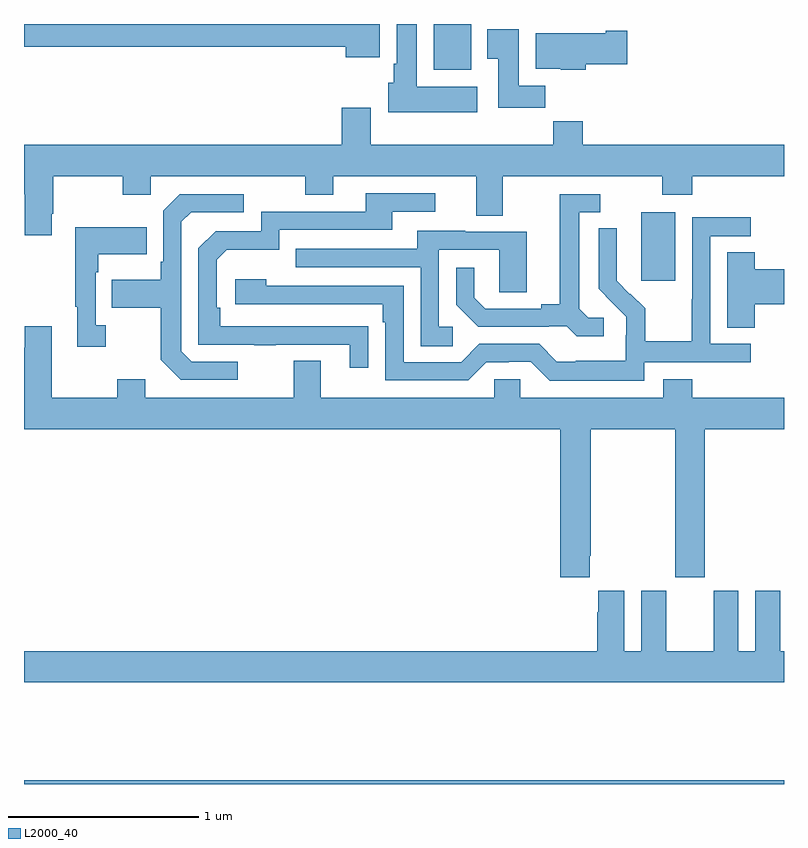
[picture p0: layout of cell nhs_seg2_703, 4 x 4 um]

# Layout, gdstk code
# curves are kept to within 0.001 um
import gdstk
lib = gdstk.Library(unit=1e-6, precision=1e-09)
def R(c, l, rs):  # rectangles x0, y0, x1, y1
    for r in rs: c.add(gdstk.rectangle(r[:2], r[2:], *l))
def P(c, l, *ps):  # polygons
    for p in ps: c.add(gdstk.Polygon(p, *l))
L2000_40 = (2000, 40)

nhs_seg2_703 = lib.new_cell('nhs_seg2_703')
R(nhs_seg2_703, L2000_40, [(147,613.8,151,613.82), (150.248,616.449,150.427,616.81), (149.156,617.558,149.353,617.8)])
P(nhs_seg2_703, L2000_40, [(149.386,617.47),(149.068,617.47),(149.068,617.8),(148.961,617.8),(148.961,617.59),(148.946,617.59),(148.946,617.49),(148.916,617.49),(148.916,617.336),(149.386,617.336)],
  [(148.873,617.8),(147,617.8),(147,617.68),(148.694,617.68),(148.694,617.624),(148.873,617.624)],
  [(149.744,617.476),(149.605,617.476),(149.605,617.773),(149.438,617.773),(149.438,617.617),(149.495,617.617),(149.495,617.358),(149.744,617.358)],
  [(149.957,617.587),(150.175,617.587),(150.175,617.765),(150.062,617.765),(150.062,617.752),(149.693,617.752),(149.693,617.564),(149.826,617.564),(149.826,617.558),(149.957,617.558)],
  [(147,616.904),(147.005,616.904),(147.005,616.689),(147.145,616.689),(147.145,616.801),(147.153,616.801),(147.153,617),(147.52,617),(147.52,616.901),(147.666,616.901),(147.666,617),(148.48,617),(148.48,616.901),(148.627,616.901),(148.627,617),(149.381,617),(149.381,616.792),(149.521,616.792),(149.521,617),(150.358,617),(150.358,616.901),(150.518,616.901),(150.518,617),(151,617),(151,617.164),(149.942,617.164),(149.942,617.288),(149.785,617.288),(149.785,617.164),(148.825,617.164),(148.825,617.359),(148.673,617.359),(148.673,617.164),(147,617.164)],
  [(148.811,616.208),(148.034,616.209),(148.034,616.306),(148.014,616.306),(148.014,616.56),(148.067,616.613),(148.344,616.613),(148.344,616.716),(148.939,616.716),(148.939,616.812),(149.164,616.812),(149.164,616.908),(148.799,616.908),(148.799,616.812),(148.248,616.812),(148.248,616.71),(148.008,616.71),(147.918,616.62),(147.918,616.113),(148.213,616.113),(148.213,616.108),(148.325,616.108),(148.325,616.113),(148.715,616.113),(148.715,615.99),(148.811,615.99)],
  [(148.126,616.023),(147.882,616.023),(147.828,616.077),(147.828,616.758),(147.879,616.809),(148.156,616.809),(148.156,616.905),(147.819,616.905),(147.732,616.818),(147.732,616.549),(147.72,616.549),(147.72,616.453),(147.463,616.453),(147.463,616.306),(147.72,616.306),(147.72,616.033),(147.825,615.927),(148.126,615.927)],
  [(150.052,616.254),(149.97,616.254),(149.923,616.301),(149.923,616.809),(150.034,616.809),(150.034,616.905),(149.819,616.905),(149.819,616.325),(149.723,616.325),(149.723,616.302),(149.428,616.302),(149.371,616.359),(149.371,616.516),(149.274,616.516),(149.274,616.322),(149.39,616.206),(149.762,616.206),(149.762,616.209),(149.856,616.209),(149.908,616.157),(150.052,616.157)],
  [(150.264,616.02),(150.826,616.02),(150.826,616.116),(150.612,616.116),(150.612,616.683),(150.826,616.683),(150.826,616.782),(150.516,616.782),(150.516,616.352),(150.514,616.352),(150.514,616.129),(150.269,616.129),(150.269,616.303),(150.192,616.38),(150.189,616.377),(150.119,616.448),(150.12,616.724),(150.024,616.724),(150.024,616.406),(150.17,616.258),(150.17,616.161),(150.168,616.161),(150.168,616.027),(149.905,616.027),(149.905,616.023),(149.805,616.023),(149.712,616.116),(149.397,616.116),(149.301,616.02),(148.998,616.02),(148.998,616.422),(148.274,616.422),(148.274,616.456),(148.113,616.456),(148.113,616.326),(148.889,616.326),(148.889,616.229),(148.902,616.229),(148.902,615.924),(149.337,615.924),(149.433,616.02),(149.552,616.02),(149.552,616.023),(149.667,616.023),(149.767,615.923),(150.264,615.923)],
  [(147.43,616.214),(147.378,616.214),(147.378,616.493),(147.391,616.493),(147.391,616.589),(147.647,616.589),(147.647,616.729),(147.27,616.729),(147.27,616.313),(147.281,616.313),(147.281,616.101),(147.43,616.101)],
  [(149.257,616.206),(149.184,616.206),(149.184,616.611),(149.502,616.611),(149.502,616.387),(149.647,616.387),(149.647,616.707),(149.323,616.707),(149.323,616.711),(149.069,616.711),(149.069,616.617),(148.429,616.617),(148.429,616.521),(149.088,616.521),(149.088,616.105),(149.257,616.105)],
  [(150.845,616.325),(151,616.325),(151,616.508),(150.845,616.508),(150.845,616.598),(150.701,616.598),(150.701,616.201),(150.845,616.201)],
  [(149.977,615.001),(149.982,615.001),(149.982,615.668),(150.427,615.668),(150.427,614.889),(150.582,614.889),(150.582,615.668),(151,615.668),(151,615.832),(150.518,615.832),(150.518,615.931),(150.365,615.931),(150.365,615.832),(149.613,615.832),(149.613,615.93),(149.475,615.93),(149.475,615.832),(148.561,615.832),(148.561,616.027),(148.421,616.027),(148.421,615.832),(147.637,615.832),(147.637,615.931),(147.49,615.931),(147.49,615.832),(147.145,615.832),(147.145,616.21),(147.005,616.21),(147.005,616.097),(147,616.097),(147,615.668),(149.822,615.668),(149.822,614.889),(149.977,614.889)],
  [(151,614.5),(150.979,614.5),(150.979,614.818),(150.848,614.818),(150.848,614.5),(150.76,614.5),(150.76,614.818),(150.629,614.818),(150.629,614.5),(150.379,614.5),(150.379,614.818),(150.248,614.818),(150.248,614.5),(150.16,614.5),(150.16,614.818),(150.023,614.818),(150.023,614.705),(150.017,614.705),(150.017,614.5),(147,614.5),(147,614.336),(151,614.336)])

lib.write_gds('nhs_seg2_703.gds')
